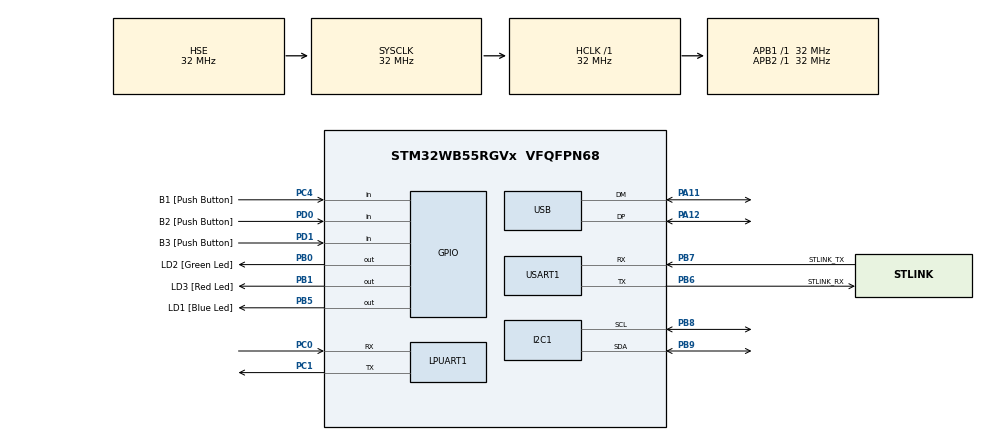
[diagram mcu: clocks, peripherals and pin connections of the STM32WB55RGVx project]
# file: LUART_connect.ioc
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I2C1.Timing=0x00707CBB
Mcu.Family=STM32WB
Mcu.Name=STM32WB55RGVx
Mcu.Package=VFQFPN68
NVIC.I2C1_ER_IRQn=true\:0\:0\:false\:false\:true\:true\:true
NVIC.I2C1_EV_IRQn=true\:0\:0\:false\:false\:true\:true\:true
NVIC.LPUART1_IRQn=true\:0\:0\:false\:false\:true\:true\:true
NVIC.PriorityGroup=NVIC_PRIORITYGROUP_4
NVIC.TIM1_UP_TIM16_IRQn=true\:0\:0\:false\:false\:true\:true\:true
NVIC.USART1_IRQn=true\:0\:0\:false\:false\:true\:true\:true
OSC_IN.Mode=HSE-External-Oscillator
OSC_IN.Signal=RCC_OSC_IN
OSC_OUT.Mode=HSE-External-Oscillator
OSC_OUT.Signal=RCC_OSC_OUT
PA11.Mode=Device
PA11.Signal=USB_DM
PA12.Mode=Device
PA12.Signal=USB_DP
PA13.GPIO_Label=JTMS
PA13.Mode=Trace_Asynchronous_SW
PA13.Signal=SYS_JTMS-SWDIO
PA14.GPIO_Label=JTCK
PA14.Mode=Trace_Asynchronous_SW
PA14.Signal=SYS_JTCK-SWCLK
PB0.GPIO_Label=LD2 [Green Led]
PB0.Signal=GPIO_Output
PB1.GPIO_Label=LD3 [Red Led]
PB1.Signal=GPIO_Output
PB3.GPIO_Label=JTDO
PB3.Mode=Trace_Asynchronous_SW
PB3.Signal=SYS_JTDO-SWO
PB5.GPIO_Label=LD1 [Blue Led]
PB5.Signal=GPIO_Output
PB6.GPIO_Label=STLINK_RX
PB6.GPIO_PuPd=GPIO_PULLUP
PB6.Mode=Asynchronous
PB6.Signal=USART1_TX
PB7.GPIO_Label=STLINK_TX
PB7.GPIO_PuPd=GPIO_PULLUP
PB7.Mode=Asynchronous
PB7.Signal=USART1_RX
PB8.Mode=I2C
PB8.Signal=I2C1_SCL
PB9.Mode=I2C
PB9.Signal=I2C1_SDA
PC0.Mode=Asynchronous
PC0.Signal=LPUART1_RX
PC1.Mode=Asynchronous
PC1.Signal=LPUART1_TX
PC13.Mode=SYS_WakeUp1
PC13.Signal=SYS_WKUP2
PC14-OSC32_IN.Mode=LSE-External-Oscillator
PC14-OSC32_IN.Signal=RCC_OSC32_IN
PC15-OSC32_OUT.Mode=LSE-External-Oscillator
PC15-OSC32_OUT.Signal=RCC_OSC32_OUT
PC4.GPIO_Label=B1 [Push Button]
PC4.Signal=GPIO_Input
PD0.GPIO_Label=B2 [Push Button]
PD0.Signal=GPIO_Input
PD1.GPIO_Label=B3 [Push Button]
PD1.Signal=GPIO_Input
ProjectManager.HeapSize=0x200
ProjectManager.StackSize=0x400
ProjectManager.TargetToolchain=STM32CubeIDE
RCC.ADCFreq_Value=48000000
RCC.AHBFreq_Value=32000000
RCC.APB1Freq_Value=32000000
RCC.APB1TimFreq_Value=32000000
RCC.APB2Freq_Value=32000000
RCC.APB2TimFreq_Value=32000000
RCC.APB3Freq_Value=16000000
RCC.CortexFreq_Value=32000000
RCC.HCLKFreq_Value=32000000
RCC.HSE_VALUE=32000000
RCC.HSI48_VALUE=48000000
RCC.HSI_VALUE=16000000
RCC.PLLN=32
RCC.PLLSAI1N=24
RCC.SMPSCLockSelectionVirtual=RCC_SMPSCLKSOURCE_HSI
RCC.SMPSCLockSelectionVirtualVirtual=RCC_SMPSCLKSOURCE_HSI
RCC.SMPSDivider=1
RCC.SYSCLKFreq_VALUE=32000000
RCC.SYSCLKSource=RCC_SYSCLKSOURCE_HSE
RCC.USBFreq_Value=48000000
RCC.VCOOutputFreq_Value=128000000
USART1.VirtualMode-Asynchronous=VM_ASYNC
USART1.WordLength=WORDLENGTH_8B
VP_TIM1_VS_ClockSourceINT.Mode=Internal
board=NUCLEO-WB55RG

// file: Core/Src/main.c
/* USER CODE BEGIN Header */
/**
  ******************************************************************************
  * @file           : main.c
  * @brief          : Main program body
  ******************************************************************************
  * @attention
  *
  * <h2><center>&copy; Copyright (c) 2021 STMicroelectronics.
  * All rights reserved.</center></h2>
  *
  * This software component is licensed by ST under BSD 3-Clause license,
  * the "License"; You may not use this file except in compliance with the
  * License. You may obtain a copy of the License at:
  *                        opensource.org/licenses/BSD-3-Clause
  *
  ******************************************************************************
  */
/* USER CODE END Header */
#include "main.h"

/* USER CODE BEGIN Includes */
#include "stdlib.h"
#include "string.h"
/* USER CODE END Includes */

/* USER CODE BEGIN PTD */
typedef struct command_node_s comand_node_t;
#define I2C_DEV_ADRESS	((uint16_t)0x48)
#define I2C_REG 		0x50

/* USER CODE END PTD */

/* USER CODE BEGIN PD */
void	cmd1_led(uint32_t ptr);
void	cmd2_led(uint32_t ptr);
/* USER CODE END PD */

/* USER CODE BEGIN PM */
typedef struct	command_node_s
{
	char		*name;
	void		(*p_func)(uint32_t);
}				comand_node_t;
/* USER CODE END PM */

I2C_HandleTypeDef hi2c1;

UART_HandleTypeDef hlpuart1;
UART_HandleTypeDef huart1;

TIM_HandleTypeDef htim1;

PCD_HandleTypeDef hpcd_USB_FS;

/* USER CODE BEGIN PV */
uint32_t time;
uint32_t period = SLOW_PERIOD;
const comand_node_t command_name[2] = 	{{"CMD1", cmd1_led},
										{"CMD2", cmd2_led}};
/* USER CODE END PV */

void SystemClock_Config(void);
static void MX_GPIO_Init(void);
static void MX_LPUART1_UART_Init(void);
static void MX_USART1_UART_Init(void);
static void MX_USB_PCD_Init(void);
static void MX_TIM1_Init(void);
static void MX_I2C1_Init(void);
/* USER CODE BEGIN PFP */

typedef struct
{
	char				*str1;
	char				*str2;
	char				*str3;
	uint8_t 			flag;
	uint32_t			ptr;
	uint32_t 			next_byte;
	uint32_t 			Rx_Num_of_Bytes;
	uint32_t 			Processed_Rx_Bytes;
	const comand_node_t *point;

}						parse_t;
/* USER CODE END PFP */

/* USER CODE BEGIN 0 */
void	parse_UART_to_func(UART_HandleTypeDef *huart, parse_t *parse)
{
	parse->Rx_Num_of_Bytes = huart->RxXferSize - huart->RxXferCount;
	parse->Processed_Rx_Bytes = parse->Rx_Num_of_Bytes;
	for (uint8_t idx = 0; idx < parse->Processed_Rx_Bytes; idx++)
	{
		if ((parse->str1 = strstr(&str[idx], "CMD+")) != NULL)
		{
			if ((parse->str2 = strstr(parse->str1, "+END")) != NULL)
			{
				*(parse->str2) = '\0';
				parse->flag = 0;
				for (uint8_t i = 0; i < sizeof(command_name) / sizeof(command_name[0]); i++)
				{
					parse->point = &command_name[i];
					if ((parse->str3 = strstr(parse->str1, parse->point->name)) != NULL)
					{
						parse->ptr = (uint32_t)atoi(parse->str3 + strlen(parse->point->name) + 1);
						if (parse->point->p_func != NULL)
						{
						  parse->point->p_func(parse->ptr);
						}
						parse->flag = 1;
						break ;
					}
				}
				memset(str, 0x00, sizeof(str));
				HAL_UART_DeInit(huart);
				HAL_UART_Init(huart);
				HAL_UART_Receive_IT(huart, (uint8_t*)str, sizeof(str) - 1);
				if (parse->flag == 1)
				{
				  HAL_UART_Transmit_IT(huart, (uint8_t*)"Ok\n", strlen("Ok\n"));
				}
				else
				{
				  HAL_UART_Transmit_IT(huart, (uint8_t*)"No command\n", strlen("No command\n"));
				}
			}
		}
	}
}

void	parse_I2C_to_func(I2C_HandleTypeDef *i2c, parse_t *parse)
{
//	parse->Rx_Num_of_Bytes = i2c->XferSize - i2c->XferCount;
//	parse->Processed_Rx_Bytes = parse->Rx_Num_of_Bytes;
//	for (uint8_t idx = 0; idx < parse->Processed_Rx_Bytes; idx++)
//	{
		if ((parse->str1 = strstr(str, "CMD+")) != NULL)
		{
			if ((parse->str2 = strstr(parse->str1, "+END")) != NULL)
			{
				*(parse->str2) = '\0';
				parse->flag = 0;
				for (uint8_t i = 0; i < sizeof(command_name) / sizeof(command_name[0]); i++)
				{
					parse->point = &command_name[i];
					if ((parse->str3 = strstr(parse->str1, parse->point->name)) != NULL)
					{
						parse->ptr = (uint32_t)atoi(parse->str3 + strlen(parse->point->name) + 1);
						if (parse->point->p_func != NULL)
						{
							parse->point->p_func(parse->ptr);
						}
						parse->flag = 1;
						break ;
					}
				}
				memset(str, 0x00, sizeof(str));
				HAL_I2C_DeInit(i2c);
				HAL_I2C_Init(i2c);
				HAL_I2C_Slave_Receive(i2c, (uint8_t*)str, strlen(str) - 1, 10000);
				if (parse->flag == 1)
				{
					HAL_I2C_Slave_Transmit(i2c, "OK\n", 3, 10000);
				}
				else
				{
					HAL_I2C_Slave_Transmit(i2c, "No Command\n", strlen("No Command"), 10000);
				}
			}
		}
//	}
}

void	cmd1_led(uint32_t ptr)
{
	led_on = ptr;
	HAL_TIM_Base_Start_IT(&htim1);
}

void	cmd2_led(uint32_t ptr)
{
	HAL_TIM_Base_Stop_IT(&htim1);
	HAL_GPIO_WritePin(GPIOB, LD2_Pin|LD3_Pin|LD1_Pin, GPIO_PIN_RESET);
}

void	cmd3_led(uint32_t ptr)
{

}
/* USER CODE END 0 */

int main(void)
{

  /* MCU Configuration--------------------------------------------------------*/

  /* Reset of all peripherals, Initializes the Flash interface and the Systick. */
  HAL_Init();

  /* Configure the system clock */
  SystemClock_Config();

  /* Initialize all configured peripherals */
  MX_GPIO_Init();
  MX_LPUART1_UART_Init();
  MX_USART1_UART_Init();
  MX_USB_PCD_Init();
  MX_TIM1_Init();
  MX_I2C1_Init();
  /* USER CODE BEGIN 2 */
  time = HAL_GetTick();
//  HAL_UART_Transmit_IT(&hlpuart1, "asd\n", strlen("asd\n"));
//  HAL_UART_Receive_IT(&huart1, (uint8_t*)str, strlen(str) - 1);
  uint8_t ptr = 0;
  if ((HAL_I2C_Slave_Receive(&hi2c1, (uint8_t*)str, strlen(str) - 1, 10000)) != HAL_OK)
  {
	  ptr = 1;
  }
  /* USER CODE END 2 */

  /* Infinite loop */
  /* USER CODE BEGIN WHILE */
  parse_t parse1;
  parse1.next_byte = 0;
  parse1.Processed_Rx_Bytes = 0;
  parse_t parse2;
  parse2.next_byte = 0;
  parse2.Processed_Rx_Bytes = 0;
  char str1[] = "CMD+";
  while (1)
  {
	 //parse_UART_to_func(&huart1, &parse1);
	  if (ptr)
	  {
		  HAL_I2C_Slave_Transmit(&hi2c1, "CONNECT\n", 7, 10000);
	  }
	  parse_I2C_to_func(&hi2c1, &parse2);

    /* USER CODE END WHILE */

  }
}

void SystemClock_Config(void)
{
  RCC_OscInitTypeDef RCC_OscInitStruct = {0};
  RCC_ClkInitTypeDef RCC_ClkInitStruct = {0};
  RCC_PeriphCLKInitTypeDef PeriphClkInitStruct = {0};

  /** Macro to configure the PLL multiplication factor
  */
  __HAL_RCC_PLL_PLLM_CONFIG(RCC_PLLM_DIV1);
  /** Macro to configure the PLL clock source
  */
  __HAL_RCC_PLL_PLLSOURCE_CONFIG(RCC_PLLSOURCE_MSI);
  /** Configure LSE Drive Capability
  */
  HAL_PWR_EnableBkUpAccess();
  __HAL_RCC_LSEDRIVE_CONFIG(RCC_LSEDRIVE_LOW);
  /** Configure the main internal regulator output voltage
  */
  __HAL_PWR_VOLTAGESCALING_CONFIG(PWR_REGULATOR_VOLTAGE_SCALE1);
  /** Initializes the RCC Oscillators according to the specified parameters
  * in the RCC_OscInitTypeDef structure.
  */
  RCC_OscInitStruct.OscillatorType = RCC_OSCILLATORTYPE_HSI|RCC_OSCILLATORTYPE_HSE
                              |RCC_OSCILLATORTYPE_LSE|RCC_OSCILLATORTYPE_MSI;
  RCC_OscInitStruct.HSEState = RCC_HSE_ON;
  RCC_OscInitStruct.LSEState = RCC_LSE_ON;
  RCC_OscInitStruct.HSIState = RCC_HSI_ON;
  RCC_OscInitStruct.MSIState = RCC_MSI_ON;
  RCC_OscInitStruct.HSICalibrationValue = RCC_HSICALIBRATION_DEFAULT;
  RCC_OscInitStruct.MSICalibrationValue = RCC_MSICALIBRATION_DEFAULT;
  RCC_OscInitStruct.MSIClockRange = RCC_MSIRANGE_6;
  RCC_OscInitStruct.PLL.PLLState = RCC_PLL_NONE;
  if (HAL_RCC_OscConfig(&RCC_OscInitStruct) != HAL_OK)
  {
    Error_Handler();
  }
  /** Configure the SYSCLKSource, HCLK, PCLK1 and PCLK2 clocks dividers
  */
  RCC_ClkInitStruct.ClockType = RCC_CLOCKTYPE_HCLK4|RCC_CLOCKTYPE_HCLK2
                              |RCC_CLOCKTYPE_HCLK|RCC_CLOCKTYPE_SYSCLK
                              |RCC_CLOCKTYPE_PCLK1|RCC_CLOCKTYPE_PCLK2;
  RCC_ClkInitStruct.SYSCLKSource = RCC_SYSCLKSOURCE_HSE;
  RCC_ClkInitStruct.AHBCLKDivider = RCC_SYSCLK_DIV1;
  RCC_ClkInitStruct.APB1CLKDivider = RCC_HCLK_DIV1;
  RCC_ClkInitStruct.APB2CLKDivider = RCC_HCLK_DIV1;
  RCC_ClkInitStruct.AHBCLK2Divider = RCC_SYSCLK_DIV1;
  RCC_ClkInitStruct.AHBCLK4Divider = RCC_SYSCLK_DIV1;

  if (HAL_RCC_ClockConfig(&RCC_ClkInitStruct, FLASH_LATENCY_1) != HAL_OK)
  {
    Error_Handler();
  }
  /** Initializes the peripherals clocks
  */
  PeriphClkInitStruct.PeriphClockSelection = RCC_PERIPHCLK_SMPS|RCC_PERIPHCLK_USART1
                              |RCC_PERIPHCLK_LPUART1|RCC_PERIPHCLK_I2C1
                              |RCC_PERIPHCLK_USB;
  PeriphClkInitStruct.PLLSAI1.PLLN = 24;
  PeriphClkInitStruct.PLLSAI1.PLLP = RCC_PLLP_DIV2;
  PeriphClkInitStruct.PLLSAI1.PLLQ = RCC_PLLQ_DIV2;
  PeriphClkInitStruct.PLLSAI1.PLLR = RCC_PLLR_DIV2;
  PeriphClkInitStruct.PLLSAI1.PLLSAI1ClockOut = RCC_PLLSAI1_USBCLK;
  PeriphClkInitStruct.Usart1ClockSelection = RCC_USART1CLKSOURCE_PCLK2;
  PeriphClkInitStruct.Lpuart1ClockSelection = RCC_LPUART1CLKSOURCE_PCLK1;
  PeriphClkInitStruct.I2c1ClockSelection = RCC_I2C1CLKSOURCE_PCLK1;
  PeriphClkInitStruct.UsbClockSelection = RCC_USBCLKSOURCE_PLLSAI1;
  PeriphClkInitStruct.SmpsClockSelection = RCC_SMPSCLKSOURCE_HSI;
  PeriphClkInitStruct.SmpsDivSelection = RCC_SMPSCLKDIV_RANGE0;
  if (HAL_RCCEx_PeriphCLKConfig(&PeriphClkInitStruct) != HAL_OK)
  {
    Error_Handler();
  }
  /** Enable MSI Auto calibration
  */
  HAL_RCCEx_EnableMSIPLLMode();
}

static void MX_I2C1_Init(void)
{

  hi2c1.Instance = I2C1;
  hi2c1.Init.Timing = 0x00707CBB;
  hi2c1.Init.OwnAddress1 = 0x48;
  hi2c1.Init.AddressingMode = I2C_ADDRESSINGMODE_7BIT;
  hi2c1.Init.DualAddressMode = I2C_DUALADDRESS_DISABLE;
  hi2c1.Init.OwnAddress2 = 0;
  hi2c1.Init.OwnAddress2Masks = I2C_OA2_NOMASK;
  hi2c1.Init.GeneralCallMode = I2C_GENERALCALL_DISABLE;
  hi2c1.Init.NoStretchMode = I2C_NOSTRETCH_DISABLE;
  if (HAL_I2C_Init(&hi2c1) != HAL_OK)
  {
    Error_Handler();
  }
  /** Configure Analogue filter
  */
  if (HAL_I2CEx_ConfigAnalogFilter(&hi2c1, I2C_ANALOGFILTER_ENABLE) != HAL_OK)
  {
    Error_Handler();
  }
  /** Configure Digital filter
  */
  if (HAL_I2CEx_ConfigDigitalFilter(&hi2c1, 0) != HAL_OK)
  {
    Error_Handler();
  }

}

static void MX_LPUART1_UART_Init(void)
{

  hlpuart1.Instance = LPUART1;
  hlpuart1.Init.BaudRate = 209700;
  hlpuart1.Init.WordLength = UART_WORDLENGTH_8B;
  hlpuart1.Init.StopBits = UART_STOPBITS_1;
  hlpuart1.Init.Parity = UART_PARITY_NONE;
  hlpuart1.Init.Mode = UART_MODE_TX_RX;
  hlpuart1.Init.HwFlowCtl = UART_HWCONTROL_NONE;
  hlpuart1.Init.OneBitSampling = UART_ONE_BIT_SAMPLE_DISABLE;
  hlpuart1.Init.ClockPrescaler = UART_PRESCALER_DIV1;
  hlpuart1.AdvancedInit.AdvFeatureInit = UART_ADVFEATURE_NO_INIT;
  hlpuart1.FifoMode = UART_FIFOMODE_DISABLE;
  if (HAL_UART_Init(&hlpuart1) != HAL_OK)
  {
    Error_Handler();
  }
  if (HAL_UARTEx_SetTxFifoThreshold(&hlpuart1, UART_TXFIFO_THRESHOLD_1_8) != HAL_OK)
  {
    Error_Handler();
  }
  if (HAL_UARTEx_SetRxFifoThreshold(&hlpuart1, UART_RXFIFO_THRESHOLD_1_8) != HAL_OK)
  {
    Error_Handler();
  }
  if (HAL_UARTEx_DisableFifoMode(&hlpuart1) != HAL_OK)
  {
    Error_Handler();
  }

}

static void MX_USART1_UART_Init(void)
{

  huart1.Instance = USART1;
  huart1.Init.BaudRate = 115200;
  huart1.Init.WordLength = UART_WORDLENGTH_8B;
  huart1.Init.StopBits = UART_STOPBITS_1;
  huart1.Init.Parity = UART_PARITY_NONE;
  huart1.Init.Mode = UART_MODE_TX_RX;
  huart1.Init.HwFlowCtl = UART_HWCONTROL_NONE;
  huart1.Init.OverSampling = UART_OVERSAMPLING_16;
  huart1.Init.OneBitSampling = UART_ONE_BIT_SAMPLE_DISABLE;
  huart1.Init.ClockPrescaler = UART_PRESCALER_DIV1;
  huart1.AdvancedInit.AdvFeatureInit = UART_ADVFEATURE_NO_INIT;
  if (HAL_UART_Init(&huart1) != HAL_OK)
  {
    Error_Handler();
  }
  if (HAL_UARTEx_SetTxFifoThreshold(&huart1, UART_TXFIFO_THRESHOLD_1_8) != HAL_OK)
  {
    Error_Handler();
  }
  if (HAL_UARTEx_SetRxFifoThreshold(&huart1, UART_RXFIFO_THRESHOLD_1_8) != HAL_OK)
  {
    Error_Handler();
  }
  if (HAL_UARTEx_DisableFifoMode(&huart1) != HAL_OK)
  {
    Error_Handler();
  }

}

static void MX_TIM1_Init(void)
{

  TIM_ClockConfigTypeDef sClockSourceConfig = {0};
  TIM_MasterConfigTypeDef sMasterConfig = {0};
  TIM_BreakDeadTimeConfigTypeDef sBreakDeadTimeConfig = {0};

  htim1.Instance = TIM1;
  htim1.Init.Prescaler = 319;
  htim1.Init.CounterMode = TIM_COUNTERMODE_UP;
  htim1.Init.Period = period;
  htim1.Init.ClockDivision = TIM_CLOCKDIVISION_DIV1;
  htim1.Init.RepetitionCounter = 0;
  htim1.Init.AutoReloadPreload = TIM_AUTORELOAD_PRELOAD_DISABLE;
  if (HAL_TIM_Base_Init(&htim1) != HAL_OK)
  {
    Error_Handler();
  }
  sClockSourceConfig.ClockSource = TIM_CLOCKSOURCE_INTERNAL;
  if (HAL_TIM_ConfigClockSource(&htim1, &sClockSourceConfig) != HAL_OK)
  {
    Error_Handler();
  }
  sMasterConfig.MasterOutputTrigger = TIM_TRGO_RESET;
  sMasterConfig.MasterOutputTrigger2 = TIM_TRGO2_RESET;
  sMasterConfig.MasterSlaveMode = TIM_MASTERSLAVEMODE_DISABLE;
  if (HAL_TIMEx_MasterConfigSynchronization(&htim1, &sMasterConfig) != HAL_OK)
  {
    Error_Handler();
  }
  sBreakDeadTimeConfig.BreakAFMode = TIM_BREAK_AFMODE_INPUT;
  sBreakDeadTimeConfig.Break2AFMode = TIM_BREAK_AFMODE_INPUT;
  if (HAL_TIMEx_ConfigBreakDeadTime(&htim1, &sBreakDeadTimeConfig) != HAL_OK)
  {
    Error_Handler();
  }

}

static void MX_USB_PCD_Init(void)
{

  hpcd_USB_FS.Instance = USB;
  hpcd_USB_FS.Init.dev_endpoints = 8;
  hpcd_USB_FS.Init.speed = PCD_SPEED_FULL;
  hpcd_USB_FS.Init.phy_itface = PCD_PHY_EMBEDDED;
  hpcd_USB_FS.Init.Sof_enable = DISABLE;
  hpcd_USB_FS.Init.low_power_enable = DISABLE;
  hpcd_USB_FS.Init.lpm_enable = DISABLE;
  hpcd_USB_FS.Init.battery_charging_enable = DISABLE;
  if (HAL_PCD_Init(&hpcd_USB_FS) != HAL_OK)
  {
    Error_Handler();
  }

}

static void MX_GPIO_Init(void)
{
  GPIO_InitTypeDef GPIO_InitStruct = {0};

  /* GPIO Ports Clock Enable */
  __HAL_RCC_GPIOC_CLK_ENABLE();
  __HAL_RCC_GPIOB_CLK_ENABLE();
  __HAL_RCC_GPIOA_CLK_ENABLE();
  __HAL_RCC_GPIOD_CLK_ENABLE();

  /*Configure GPIO pin Output Level */
  HAL_GPIO_WritePin(GPIOB, LD2_Pin|LD3_Pin|LD1_Pin, GPIO_PIN_RESET);

  /*Configure GPIO pin : B1_Pin */
  GPIO_InitStruct.Pin = B1_Pin;
  GPIO_InitStruct.Mode = GPIO_MODE_INPUT;
  GPIO_InitStruct.Pull = GPIO_NOPULL;
  HAL_GPIO_Init(B1_GPIO_Port, &GPIO_InitStruct);

  /*Configure GPIO pins : LD2_Pin LD3_Pin LD1_Pin */
  GPIO_InitStruct.Pin = LD2_Pin|LD3_Pin|LD1_Pin;
  GPIO_InitStruct.Mode = GPIO_MODE_OUTPUT_PP;
  GPIO_InitStruct.Pull = GPIO_NOPULL;
  GPIO_InitStruct.Speed = GPIO_SPEED_FREQ_LOW;
  HAL_GPIO_Init(GPIOB, &GPIO_InitStruct);

  /*Configure GPIO pins : B2_Pin B3_Pin */
  GPIO_InitStruct.Pin = B2_Pin|B3_Pin;
  GPIO_InitStruct.Mode = GPIO_MODE_INPUT;
  GPIO_InitStruct.Pull = GPIO_NOPULL;
  HAL_GPIO_Init(GPIOD, &GPIO_InitStruct);

}

/* USER CODE BEGIN 4 */
void HAL_UART_RxCpltCallback(UART_HandleTypeDef *huart)
{
  /* Prevent unused argument(s) compilation warning */
	HAL_UART_DeInit(&huart1);
	HAL_UART_Init(&huart1);
	HAL_UART_Receive_IT(&huart1, (uint8_t*)str, sizeof(str) - 1);
  UNUSED(huart1);

  /* NOTE : This function should not be modified, when the callback is needed,
            the HAL_UART_RxCpltCallback can be implemented in the user file.
   */
}
/* USER CODE END 4 */

void Error_Handler(void)
{
  __disable_irq();
  while (1)
  {
  }
}

/************************ (C) COPYRIGHT STMicroelectronics *****END OF FILE****/
